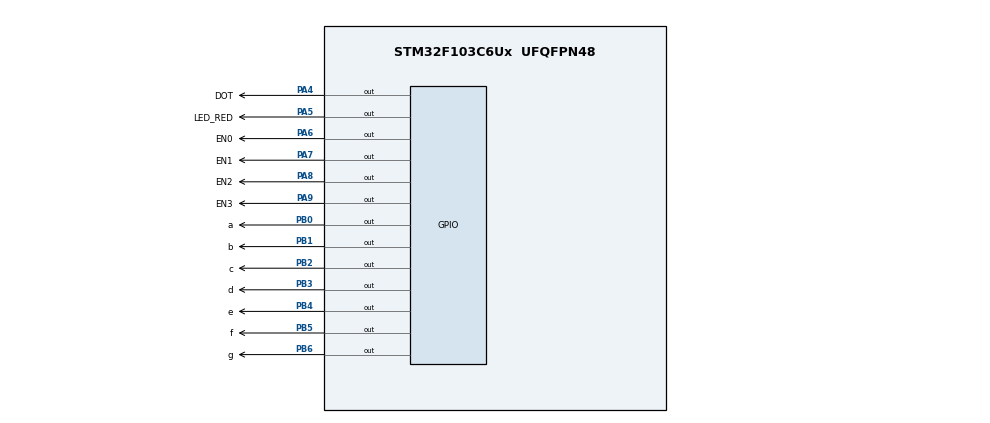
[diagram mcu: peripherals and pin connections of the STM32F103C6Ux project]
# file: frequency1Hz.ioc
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Mcu.Family=STM32F1
Mcu.Name=STM32F103C6Ux
Mcu.Package=UFQFPN48
NVIC.PriorityGroup=NVIC_PRIORITYGROUP_4
NVIC.TIM2_IRQn=true\:0\:0\:false\:false\:true\:true\:true
PA4.GPIO_Label=DOT
PA4.Signal=GPIO_Output
PA5.GPIO_Label=LED_RED
PA5.Signal=GPIO_Output
PA6.GPIO_Label=EN0
PA6.Signal=GPIO_Output
PA7.GPIO_Label=EN1
PA7.Signal=GPIO_Output
PA8.GPIO_Label=EN2
PA8.Signal=GPIO_Output
PA9.GPIO_Label=EN3
PA9.Signal=GPIO_Output
PB0.GPIO_Label=a
PB0.Signal=GPIO_Output
PB1.GPIO_Label=b
PB1.Signal=GPIO_Output
PB2.GPIO_Label=c
PB2.Signal=GPIO_Output
PB3.GPIO_Label=d
PB3.Signal=GPIO_Output
PB4.GPIO_Label=e
PB4.Signal=GPIO_Output
PB5.GPIO_Label=f
PB5.Signal=GPIO_Output
PB6.GPIO_Label=g
PB6.Signal=GPIO_Output
ProjectManager.HeapSize=0x200
ProjectManager.StackSize=0x400
ProjectManager.TargetToolchain=STM32CubeIDE
RCC.APB1Freq_Value=8000000
RCC.APB2Freq_Value=8000000
TIM2.Period=9
TIM2.Prescaler=7999
VP_SYS_VS_ND.Mode=No_Debug
VP_TIM2_VS_ClockSourceINT.Mode=Internal
board=custom

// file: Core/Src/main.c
/* USER CODE BEGIN Header */
/**
  ******************************************************************************
  * @file           : main.c
  * @brief          : Main program body
  ******************************************************************************
  * @attention
  *
  * <h2><center>&copy; Copyright (c) 2022 STMicroelectronics.
  * All rights reserved.</center></h2>
  *
  * This software component is licensed by ST under BSD 3-Clause license,
  * the "License"; You may not use this file except in compliance with the
  * License. You may obtain a copy of the License at:
  *                        opensource.org/licenses/BSD-3-Clause
  *
  ******************************************************************************
  */
/* USER CODE END Header */
#include "main.h"

TIM_HandleTypeDef htim2;

void SystemClock_Config(void);
static void MX_GPIO_Init(void);
static void MX_TIM2_Init(void);

int main(void)
{

  /* MCU Configuration--------------------------------------------------------*/

  /* Reset of all peripherals, Initializes the Flash interface and the Systick. */
  HAL_Init();

  /* Configure the system clock */
  SystemClock_Config();

  /* Initialize all configured peripherals */
  MX_GPIO_Init();
  MX_TIM2_Init();
  /* USER CODE BEGIN 2 */
  HAL_TIM_Base_Start_IT(&htim2);
  void display7segment(int num);
  void update7SEG(int index);
  /* USER CODE END 2 */

  /* Infinite loop */
  while (1)
  {

  }
}

void SystemClock_Config(void)
{
  RCC_OscInitTypeDef RCC_OscInitStruct = {0};
  RCC_ClkInitTypeDef RCC_ClkInitStruct = {0};

  /** Initializes the RCC Oscillators according to the specified parameters
  * in the RCC_OscInitTypeDef structure.
  */
  RCC_OscInitStruct.OscillatorType = RCC_OSCILLATORTYPE_HSI;
  RCC_OscInitStruct.HSIState = RCC_HSI_ON;
  RCC_OscInitStruct.HSICalibrationValue = RCC_HSICALIBRATION_DEFAULT;
  RCC_OscInitStruct.PLL.PLLState = RCC_PLL_NONE;
  if (HAL_RCC_OscConfig(&RCC_OscInitStruct) != HAL_OK)
  {
    Error_Handler();
  }
  /** Initializes the CPU, AHB and APB buses clocks
  */
  RCC_ClkInitStruct.ClockType = RCC_CLOCKTYPE_HCLK|RCC_CLOCKTYPE_SYSCLK
                              |RCC_CLOCKTYPE_PCLK1|RCC_CLOCKTYPE_PCLK2;
  RCC_ClkInitStruct.SYSCLKSource = RCC_SYSCLKSOURCE_HSI;
  RCC_ClkInitStruct.AHBCLKDivider = RCC_SYSCLK_DIV1;
  RCC_ClkInitStruct.APB1CLKDivider = RCC_HCLK_DIV1;
  RCC_ClkInitStruct.APB2CLKDivider = RCC_HCLK_DIV1;

  if (HAL_RCC_ClockConfig(&RCC_ClkInitStruct, FLASH_LATENCY_0) != HAL_OK)
  {
    Error_Handler();
  }
}

static void MX_TIM2_Init(void)
{

  TIM_ClockConfigTypeDef sClockSourceConfig = {0};
  TIM_MasterConfigTypeDef sMasterConfig = {0};

  htim2.Instance = TIM2;
  htim2.Init.Prescaler = 7999;
  htim2.Init.CounterMode = TIM_COUNTERMODE_UP;
  htim2.Init.Period = 9;
  htim2.Init.ClockDivision = TIM_CLOCKDIVISION_DIV1;
  htim2.Init.AutoReloadPreload = TIM_AUTORELOAD_PRELOAD_DISABLE;
  if (HAL_TIM_Base_Init(&htim2) != HAL_OK)
  {
    Error_Handler();
  }
  sClockSourceConfig.ClockSource = TIM_CLOCKSOURCE_INTERNAL;
  if (HAL_TIM_ConfigClockSource(&htim2, &sClockSourceConfig) != HAL_OK)
  {
    Error_Handler();
  }
  sMasterConfig.MasterOutputTrigger = TIM_TRGO_RESET;
  sMasterConfig.MasterSlaveMode = TIM_MASTERSLAVEMODE_DISABLE;
  if (HAL_TIMEx_MasterConfigSynchronization(&htim2, &sMasterConfig) != HAL_OK)
  {
    Error_Handler();
  }

}

static void MX_GPIO_Init(void)
{
  GPIO_InitTypeDef GPIO_InitStruct = {0};

  /* GPIO Ports Clock Enable */
  __HAL_RCC_GPIOA_CLK_ENABLE();
  __HAL_RCC_GPIOB_CLK_ENABLE();

  /*Configure GPIO pin Output Level */
  HAL_GPIO_WritePin(GPIOA, DOT_Pin|LED_RED_Pin|EN0_Pin|EN1_Pin
                          |EN2_Pin|EN3_Pin, GPIO_PIN_RESET);

  /*Configure GPIO pin Output Level */
  HAL_GPIO_WritePin(GPIOB, a_Pin|b_Pin|c_Pin|d_Pin
                          |e_Pin|f_Pin|g_Pin, GPIO_PIN_RESET);

  /*Configure GPIO pins : DOT_Pin LED_RED_Pin EN0_Pin EN1_Pin
                           EN2_Pin EN3_Pin */
  GPIO_InitStruct.Pin = DOT_Pin|LED_RED_Pin|EN0_Pin|EN1_Pin
                          |EN2_Pin|EN3_Pin;
  GPIO_InitStruct.Mode = GPIO_MODE_OUTPUT_PP;
  GPIO_InitStruct.Pull = GPIO_NOPULL;
  GPIO_InitStruct.Speed = GPIO_SPEED_FREQ_LOW;
  HAL_GPIO_Init(GPIOA, &GPIO_InitStruct);

  /*Configure GPIO pins : a_Pin b_Pin c_Pin d_Pin
                           e_Pin f_Pin g_Pin */
  GPIO_InitStruct.Pin = a_Pin|b_Pin|c_Pin|d_Pin
                          |e_Pin|f_Pin|g_Pin;
  GPIO_InitStruct.Mode = GPIO_MODE_OUTPUT_PP;
  GPIO_InitStruct.Pull = GPIO_NOPULL;
  GPIO_InitStruct.Speed = GPIO_SPEED_FREQ_LOW;
  HAL_GPIO_Init(GPIOB, &GPIO_InitStruct);

}

/* USER CODE BEGIN 4 */
void display7segment(int num){
	if (num == 0){ /*Implement 0 on 7-segment led*/
		HAL_GPIO_WritePin(a_GPIO_Port, a_Pin, RESET);
		HAL_GPIO_WritePin(b_GPIO_Port, b_Pin, RESET);
		HAL_GPIO_WritePin(c_GPIO_Port, c_Pin, RESET);
		HAL_GPIO_WritePin(d_GPIO_Port, d_Pin, RESET);
		HAL_GPIO_WritePin(e_GPIO_Port, e_Pin, RESET);
		HAL_GPIO_WritePin(f_GPIO_Port, f_Pin, RESET);
		HAL_GPIO_WritePin(g_GPIO_Port, g_Pin, SET);
	}
	if (num == 1){/*Implement 1 on 7-segment led*/
		HAL_GPIO_WritePin(a_GPIO_Port, a_Pin, SET);
		HAL_GPIO_WritePin(b_GPIO_Port, b_Pin, RESET);
		HAL_GPIO_WritePin(c_GPIO_Port, c_Pin, RESET);
		HAL_GPIO_WritePin(d_GPIO_Port, d_Pin, SET);
		HAL_GPIO_WritePin(e_GPIO_Port, e_Pin, SET);
		HAL_GPIO_WritePin(f_GPIO_Port, f_Pin, SET);
		HAL_GPIO_WritePin(g_GPIO_Port, g_Pin, SET);
	}
	if (num == 2){ /*Implement 2 on 7-segment led*/
		HAL_GPIO_WritePin(a_GPIO_Port, a_Pin, RESET);
		HAL_GPIO_WritePin(b_GPIO_Port, b_Pin, RESET);
		HAL_GPIO_WritePin(c_GPIO_Port, c_Pin, SET);
		HAL_GPIO_WritePin(d_GPIO_Port, d_Pin, RESET);
		HAL_GPIO_WritePin(e_GPIO_Port, e_Pin, RESET);
		HAL_GPIO_WritePin(f_GPIO_Port, f_Pin, SET);
		HAL_GPIO_WritePin(g_GPIO_Port, g_Pin, RESET);
	}
	if (num == 3){ /*Implement 3 on 7-segment led*/
		HAL_GPIO_WritePin(a_GPIO_Port, a_Pin, RESET);
		HAL_GPIO_WritePin(b_GPIO_Port, b_Pin, RESET);
		HAL_GPIO_WritePin(c_GPIO_Port, c_Pin, RESET);
		HAL_GPIO_WritePin(d_GPIO_Port, d_Pin, RESET);
		HAL_GPIO_WritePin(e_GPIO_Port, e_Pin, SET);
		HAL_GPIO_WritePin(f_GPIO_Port, f_Pin, SET);
		HAL_GPIO_WritePin(g_GPIO_Port, g_Pin, RESET);
	}
	if (num == 4){ /*Implement 4 on 7-segment led*/
		HAL_GPIO_WritePin(a_GPIO_Port, a_Pin, SET);
		HAL_GPIO_WritePin(b_GPIO_Port, b_Pin, RESET);
		HAL_GPIO_WritePin(c_GPIO_Port, c_Pin, RESET);
		HAL_GPIO_WritePin(d_GPIO_Port, d_Pin, SET);
		HAL_GPIO_WritePin(e_GPIO_Port, e_Pin, SET);
		HAL_GPIO_WritePin(f_GPIO_Port, f_Pin, RESET);
		HAL_GPIO_WritePin(g_GPIO_Port, g_Pin, RESET);
	}
	if (num == 5){ /*Implement 5 on 7-segment led*/
		HAL_GPIO_WritePin(a_GPIO_Port, a_Pin, RESET);
		HAL_GPIO_WritePin(b_GPIO_Port, b_Pin, SET);
		HAL_GPIO_WritePin(c_GPIO_Port, c_Pin, RESET);
		HAL_GPIO_WritePin(d_GPIO_Port, d_Pin, RESET);
		HAL_GPIO_WritePin(e_GPIO_Port, e_Pin, SET);
		HAL_GPIO_WritePin(f_GPIO_Port, f_Pin, RESET);
		HAL_GPIO_WritePin(g_GPIO_Port, g_Pin, RESET);
	}
	if (num == 6){ /*Implement 6 on 7-segment led*/
		HAL_GPIO_WritePin(a_GPIO_Port, a_Pin, RESET);
		HAL_GPIO_WritePin(b_GPIO_Port, b_Pin, SET);
		HAL_GPIO_WritePin(c_GPIO_Port, c_Pin, RESET);
		HAL_GPIO_WritePin(d_GPIO_Port, d_Pin, RESET);
		HAL_GPIO_WritePin(e_GPIO_Port, e_Pin, RESET);
		HAL_GPIO_WritePin(f_GPIO_Port, f_Pin, RESET);
		HAL_GPIO_WritePin(g_GPIO_Port, g_Pin, RESET);
	}
	if (num == 7){ /*Implement 7 on 7-segment led*/
		HAL_GPIO_WritePin(a_GPIO_Port, a_Pin, RESET);
		HAL_GPIO_WritePin(b_GPIO_Port, b_Pin, RESET);
		HAL_GPIO_WritePin(c_GPIO_Port, c_Pin, RESET);
		HAL_GPIO_WritePin(d_GPIO_Port, d_Pin, SET);
		HAL_GPIO_WritePin(e_GPIO_Port, e_Pin, SET);
		HAL_GPIO_WritePin(f_GPIO_Port, f_Pin, SET);
		HAL_GPIO_WritePin(g_GPIO_Port, g_Pin, SET);
	}
	if (num == 8){ /*Implement 8 on 7-segment led*/
		HAL_GPIO_WritePin(a_GPIO_Port, a_Pin, RESET);
		HAL_GPIO_WritePin(b_GPIO_Port, b_Pin, RESET);
		HAL_GPIO_WritePin(c_GPIO_Port, c_Pin, RESET);
		HAL_GPIO_WritePin(d_GPIO_Port, d_Pin, RESET);
		HAL_GPIO_WritePin(e_GPIO_Port, e_Pin, RESET);
		HAL_GPIO_WritePin(f_GPIO_Port, f_Pin, RESET);
		HAL_GPIO_WritePin(g_GPIO_Port, g_Pin, RESET);
	}
	if (num == 9){ /*Implement 9 on 7-segment led*/
		HAL_GPIO_WritePin(a_GPIO_Port, a_Pin, RESET);
		HAL_GPIO_WritePin(b_GPIO_Port, b_Pin, RESET);
		HAL_GPIO_WritePin(c_GPIO_Port, c_Pin, RESET);
		HAL_GPIO_WritePin(d_GPIO_Port, d_Pin, RESET);
		HAL_GPIO_WritePin(e_GPIO_Port, e_Pin, SET);
		HAL_GPIO_WritePin(f_GPIO_Port, f_Pin, RESET);
		HAL_GPIO_WritePin(g_GPIO_Port, g_Pin, RESET);
	}
}

const int MAX_LED = 4;
int index_led = 0;
int led_buffer[4] = {1,2,3,4};
void update7SEG(int index){
 switch (index){
 	 case 0:
 		 // Display the first 7 SEG with led_buffer [0]
 		HAL_GPIO_WritePin(EN0_GPIO_Port, EN0_Pin, RESET);
 		HAL_GPIO_WritePin(EN1_GPIO_Port, EN1_Pin, SET);
 		HAL_GPIO_WritePin(EN2_GPIO_Port, EN2_Pin, SET);
 		HAL_GPIO_WritePin(EN3_GPIO_Port, EN3_Pin, SET);
 		display7segment(led_buffer[0]);
 		 break;
 	 case 1:
 		 // Display the second 7 SEG with led_buffer [1]
 		HAL_GPIO_WritePin(EN0_GPIO_Port, EN0_Pin, SET);
 		HAL_GPIO_WritePin(EN1_GPIO_Port, EN1_Pin, RESET);
		HAL_GPIO_WritePin(EN2_GPIO_Port, EN2_Pin, SET);
 		HAL_GPIO_WritePin(EN3_GPIO_Port, EN3_Pin, SET);
 		display7segment(led_buffer[1]);
 		 break;
 	 case 2:
 		 // Display the third 7 SEG with led_buffer [2]
 		HAL_GPIO_WritePin(EN0_GPIO_Port, EN0_Pin, SET);
 		HAL_GPIO_WritePin(EN1_GPIO_Port, EN1_Pin, SET);
 		HAL_GPIO_WritePin(EN2_GPIO_Port, EN2_Pin, RESET);
		HAL_GPIO_WritePin(EN3_GPIO_Port, EN3_Pin, SET);
 		display7segment(led_buffer[2]);
 		 break;
 	 case 3:
 		 // Display the forth 7 SEG with led_buffer [3]
 		HAL_GPIO_WritePin(EN0_GPIO_Port, EN0_Pin, SET);
 		HAL_GPIO_WritePin(EN1_GPIO_Port, EN1_Pin, SET);
 		HAL_GPIO_WritePin(EN2_GPIO_Port, EN2_Pin, SET);
 		HAL_GPIO_WritePin(EN3_GPIO_Port, EN3_Pin, RESET);
 		display7segment(led_buffer[3]);
 		 break;
 	 default:
 		 break;
 }
}

int counter = 25; //Set the frequency of 4 7SEG to 1HZ
int dot = 0; //Check 1000ms to toggle DOT
void HAL_TIM_PeriodElapsedCallback(TIM_HandleTypeDef*htim){
	counter--;
	if(counter <= 0) {
		counter = 25;
		//TODO
		HAL_GPIO_TogglePin(LED_RED_GPIO_Port, LED_RED_Pin);
		dot++;
		if (dot >=4) { //Enough to toggle DOT
			HAL_GPIO_TogglePin(DOT_GPIO_Port, DOT_Pin);
			dot = 0;
		} else {
			dot++;
		}
		if (index_led >= 4) {
			index_led = 0;
			update7SEG(index_led++);
		} else {
			update7SEG(index_led++);
		}
	}
}
/* USER CODE END 4 */

void Error_Handler(void)
{
  __disable_irq();
  while (1)
  {
  }
}

/************************ (C) COPYRIGHT STMicroelectronics *****END OF FILE****/
